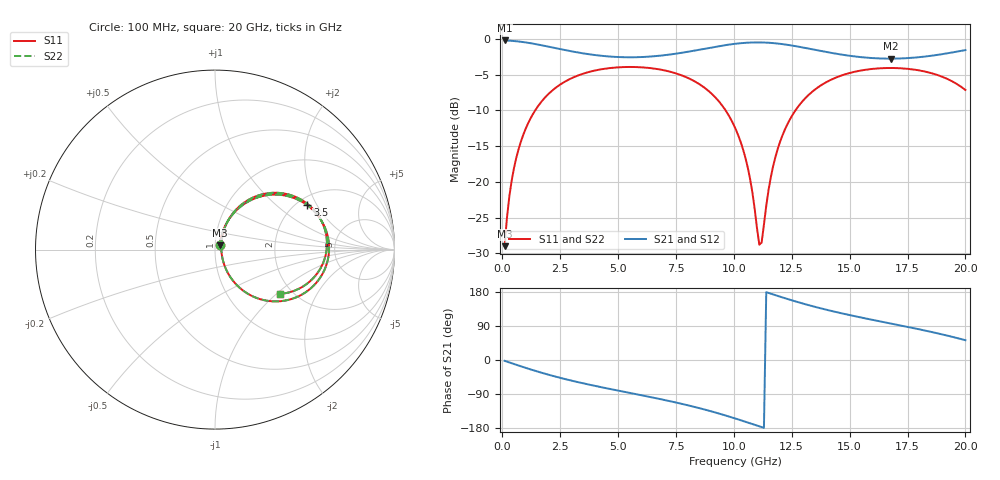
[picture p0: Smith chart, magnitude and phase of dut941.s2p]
! Touchstone file exported from HFSS 2026.1.0
!  File:  C:/ffzhzh/LocalFiles/Ansys_Project_Files/temp_train_TSV_RDL_941_1783282023_30076.aedt
!  Generated:  04:21:23 AM Jul  6, 2026
!  Design:  TSV_RDL
!  Project:  temp_train_TSV_RDL_941_1783282023_30076
! Variables:
!  h_bsmrdl = 5.86um
!  h_ox = 20um
!  h_rdl = 5um
!  h_sub = 56.1um
!  h_tmrdl = 5.85um
!  h_tsv = 56.1um
!  h_via = 3um
!  l_bsmrdl = 813.23um
!  l_sub = 5594.04um
!  l_tmrdl = 668.81um
!  m_sub = 200um
!  pitch = 49.78um
!  r_tsv = 10.49um
!  s_tmrdl = 10um
!  w_bsmrdl = 15.92um
!  w_sub = 500um
!  w_tmrdl = 10.45um
!  x_tsv_center1 = 674.035um
!  x_tsv_center2 = 1503.185um
!  x_tsv_center3 = 2182.445um
!  x_tsv_center4 = 3011.595um
!  x_tsv_center5 = 3690.855um
!  x_tsv_center6 = 4520.005um
# GHz S MA R 50.000000
! Terminal data exported
! Port[1] = TM_RDL1_1_T1
! Port[2] = TM_RDL5_1_T1
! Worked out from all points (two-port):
!   200 points, 100 MHz to 20 GHz, reference 50 ohm
!   highest |S21| = -0.22 dB at 100 MHz (marker M1); lowest = -2.8 dB at 16.8 GHz (marker M2)
!   |S21| within 3 dB of the highest: start of sweep to end of sweep
!   lowest |S11| = -29.0 dB at 100 MHz (marker M3), VSWR 1.07, Z = 52.6 + j2.53 ohm
!   |S11| at or under -10 dB: start of sweep to 1.423 GHz; 9.641 GHz to 12.66 GHz (3.023 GHz wide, 27.1 % of centre)
!   |S22| runs from -29.0 to -3.9 dB; largest |S21 - S12| = 1.6e-14
!   S11 on the Smith chart (normalised r, x): 100 MHz: 1.05, +0.05; 3.5 GHz: 2.28, +1.67; 20 GHz: 1.73, -1.06
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0.1  0.03544 42.6  0.9745 -2.1  0.9745 -2.1  0.03544 42.6
! Gamma 0 0 0 0
! Port Impedance 50 0 50 0
0.3  0.07801 64.0  0.9711 -6.3  0.9711 -6.3  0.07801 64.0
0.5  0.1234 66.9  0.9658 -10.5  0.9658 -10.5  0.1234 66.9
1.1  0.2536 61.1  0.9393 -22.5  0.9393 -22.5  0.2536 61.1
2.1  0.4269 45.5  0.8749 -40.6  0.8749 -40.6  0.4269 45.5
3.5  0.5712 25.6  0.7912 -61.6  0.7912 -61.6  0.5712 25.6
5.1  0.6333 6.1  0.7451 -82.0  0.7451 -82.0  0.6333 6.1
6.8  0.6107 -13.7  0.762 -102.9  0.762 -102.9  0.6107 -13.7
8.8  0.4465 -40.3  0.8564 -131.7  0.8564 -131.7  0.4465 -40.3
10.1  0.2295 -58.6  0.9253 -155.1  0.9253 -155.1  0.2295 -58.6
10.7  0.105 -59.3  0.9421 -166.9  0.9421 -166.9  0.105 -59.3
11.1  0.03628 -11.4  0.9445 -175.0  0.9445 -175.0  0.03638 -11.3
11.2  0.03755 22.2  0.9439 -177.0  0.9439 -177.0  0.03765 22.1
11.6  0.1084 64.7  0.9369 174.9  0.9369 174.9  0.1085 64.6
12  0.1911 65.3  0.9231 167.0  0.9231 167.0  0.1912 65.3
12.6  0.3053 58.4  0.893 155.7  0.893 155.7  0.3053 58.4
13.4  0.4287 47.0  0.8446 142.0  0.8446 142.0  0.4287 47.0
15.1  0.5824 24.6  0.7575 117.2  0.7575 117.2  0.5824 24.6
16.7  0.6253 6.1  0.7271 97.2  0.7271 97.2  0.6253 6.1
16.8  0.6254 5.0  0.7271 96.0  0.7271 96.0  0.6254 5.0
18.4  0.5829 -13.5  0.7568 75.8  0.7568 75.8  0.5829 -13.5
20  0.4389 -34.2  0.8345 52.2  0.8345 52.2  0.4388 -34.2
